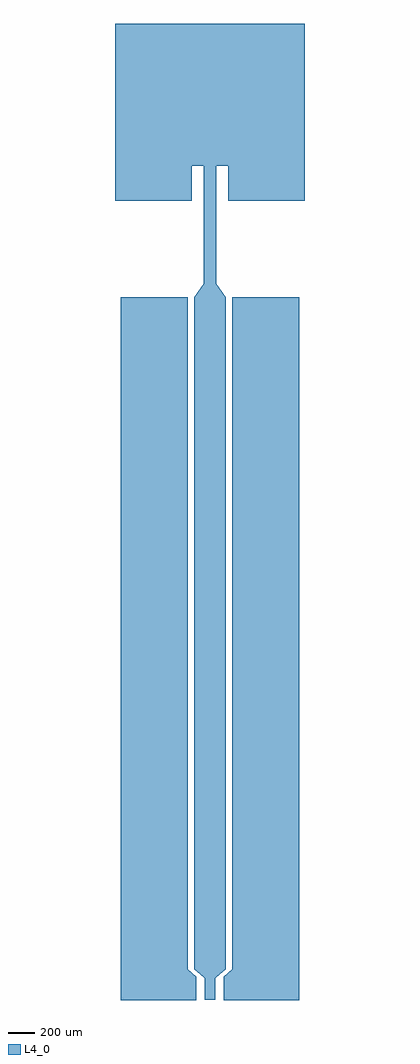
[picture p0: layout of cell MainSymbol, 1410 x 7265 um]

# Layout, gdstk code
import gdstk
lib = gdstk.Library(unit=1e-6, precision=1e-09)
def R(c, l, rs):  # rectangles x0, y0, x1, y1
    for r in rs: c.add(gdstk.rectangle(r[:2], r[2:], *l))
def P(c, l, *ps):  # polygons
    for p in ps: c.add(gdstk.Polygon(p, *l))
L4_0 = (4, 0)

mainsymbol = lib.new_cell('MainSymbol')
R(mainsymbol, L4_0, [(-454,-3515,108,-3465), (312,-3515,874,-3465), (170,-3513,250,-3318), (-455,-3285,44,1715), (94,-3285,326,1715), (376,-3285,875,1715)])
P(mainsymbol, L4_0, [(-495,2435),(72.5,2435),(72.5,2695),(162.5,2695),(162.5,1815),(257.5,1815),(257.5,2695),(347.5,2695),(347.5,2435),(915,2435),(915,3750),(-495,3750)],
  [(185,-3365),(94,-3285),(326,-3285),(235,-3365)],
  [(162.5,1815),(94,1715),(326,1715),(257.5,1815)],
  [(44,-3285),(108,-3341.264),(108,-3465),(-455,-3465),(-455,-3285)],
  [(376,-3285),(312,-3341.264),(312,-3465),(875,-3465),(875,-3285)])

lib.write_gds('MainSymbol.gds')
